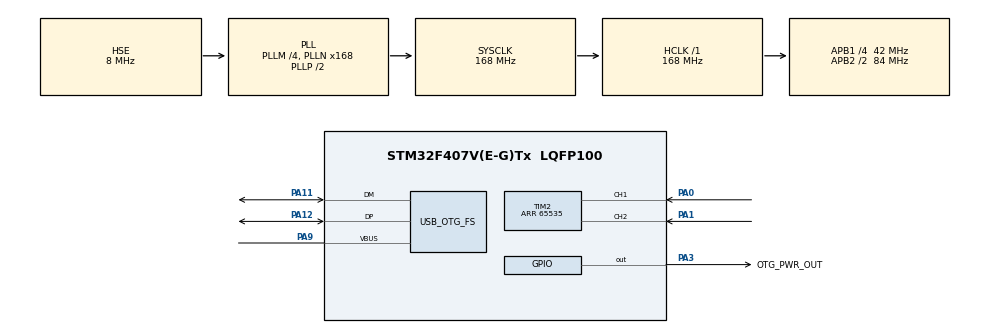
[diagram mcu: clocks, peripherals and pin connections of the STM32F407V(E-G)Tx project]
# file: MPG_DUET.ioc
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Mcu.Family=STM32F4
Mcu.Name=STM32F407V(E-G)Tx
Mcu.Package=LQFP100
NVIC.OTG_FS_IRQn=true\:0\:0\:false\:false\:true\:false\:true
NVIC.PriorityGroup=NVIC_PRIORITYGROUP_4
PA0-WKUP.GPIO_PuPd=GPIO_NOPULL
PA0-WKUP.Signal=S_TIM2_CH1_ETR
PA1.GPIO_PuPd=GPIO_NOPULL
PA1.Signal=S_TIM2_CH2
PA11.Mode=Host_Only
PA11.Signal=USB_OTG_FS_DM
PA12.GPIO_PuPd=GPIO_NOPULL
PA12.Mode=Host_Only
PA12.Signal=USB_OTG_FS_DP
PA13.Mode=Serial_Wire
PA13.Signal=SYS_JTMS-SWDIO
PA14.Mode=Serial_Wire
PA14.Signal=SYS_JTCK-SWCLK
PA3.GPIO_Label=OTG_PWR_OUT
PA3.PinState=GPIO_PIN_SET
PA3.Signal=GPIO_Output
PA9.Mode=Activate_VBUS
PA9.Signal=USB_OTG_FS_VBUS
PH0-OSC_IN.Mode=HSE-External-Oscillator
PH0-OSC_IN.Signal=RCC_OSC_IN
PH1-OSC_OUT.Mode=HSE-External-Oscillator
PH1-OSC_OUT.Signal=RCC_OSC_OUT
ProjectManager.HeapSize=0x200
ProjectManager.StackSize=0x400
ProjectManager.TargetToolchain=STM32CubeIDE
RCC.48MHZClocksFreq_Value=48000000
RCC.AHBFreq_Value=168000000
RCC.APB1CLKDivider=RCC_HCLK_DIV4
RCC.APB1Freq_Value=42000000
RCC.APB1TimFreq_Value=84000000
RCC.APB2CLKDivider=RCC_HCLK_DIV2
RCC.APB2Freq_Value=84000000
RCC.APB2TimFreq_Value=168000000
RCC.CortexFreq_Value=168000000
RCC.HCLKFreq_Value=168000000
RCC.HSE_VALUE=8000000
RCC.HSI_VALUE=16000000
RCC.LSE_VALUE=32768
RCC.PLLM=4
RCC.PLLN=168
RCC.PLLQ=7
RCC.SYSCLKFreq_VALUE=168000000
RCC.SYSCLKSource=RCC_SYSCLKSOURCE_PLLCLK
RCC.VCOOutputFreq_Value=336000000
SH.S_TIM2_CH1_ETR.0=TIM2_CH1,Encoder_Interface
SH.S_TIM2_CH2.0=TIM2_CH2,Encoder_Interface
TIM2.EncoderMode=TIM_ENCODERMODE_TI1
TIM2.IC1Filter=3
TIM2.IC2Filter=3
TIM2.Period=65535
USB_HOST.BSP.number=1
USB_HOST.USBH_DEBUG_LEVEL-CDC_FS=3
USB_HOST.USBH_HandleTypeDef-CDC_FS=hUsbHostFS
USB_HOST.VirtualModeFS=Cdc
USB_HOST0.BSP.STBoard=false
USB_HOST0.BSP.api=Unknown
USB_HOST0.BSP.i2caddr=0
USB_HOST0.BSP.instance=PA3
USB_HOST0.BSP.ip=GPIO
USB_HOST0.BSP.mode=Output
USB_HOST0.BSP.name=Drive_VBUS_FS
USB_HOST0.BSP.solution=PA3
USB_OTG_FS.VirtualMode=Host_Only
USB_OTG_FS.phy_itface=HCD_PHY_EMBEDDED
VP_USB_HOST_VS_USB_HOST_CDC_FS.Mode=CDC_FS
board=custom

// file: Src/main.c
/* USER CODE BEGIN Header */
/**
  ******************************************************************************
  * @file           : main.c
  * @brief          : Main program body
  ******************************************************************************
  * @attention
  *
  * <h2><center>&copy; Copyright (c) 2019 STMicroelectronics.
  * All rights reserved.</center></h2>
  *
  * This software component is licensed by ST under BSD 3-Clause license,
  * the "License"; You may not use this file except in compliance with the
  * License. You may obtain a copy of the License at:
  *                        opensource.org/licenses/BSD-3-Clause
  *
  ******************************************************************************
  */
/* USER CODE END Header */

#include "main.h"
#include "usb_host.h"

/* USER CODE BEGIN Includes */
#include "usbh_def.h"
#include "usbh_cdc.h"
#include "usbh_platform.h"
/* USER CODE END Includes */

TIM_HandleTypeDef htim2;

/* USER CODE BEGIN PV */
extern USBH_HandleTypeDef hUsbHostFS;
uint8_t test_buff[256]="test";

uint8_t receive_data[256]="";

int buff_length=63;
int transmit_done=0;
int32_t encoder_value=0;
/* USER CODE END PV */

void SystemClock_Config(void);
static void MX_GPIO_Init(void);
static void MX_TIM2_Init(void);
void MX_USB_HOST_Process(void);

/* USER CODE BEGIN PFP */
void USBH_CDC_ReceiveCallback(USBH_HandleTypeDef *phost);
void USBH_CDC_TransmitCallback(USBH_HandleTypeDef *phost);
/* USER CODE END PFP */

int main(void)
{

  /* MCU Configuration--------------------------------------------------------*/

  /* Reset of all peripherals, Initializes the Flash interface and the Systick. */
  HAL_Init();

  /* Configure the system clock */
  SystemClock_Config();

  /* Initialize all configured peripherals */
  MX_GPIO_Init();
  MX_USB_HOST_Init();
  MX_TIM2_Init();
  /* USER CODE BEGIN 2 */
  HAL_TIM_Encoder_Start(&htim2, TIM_CHANNEL_ALL);
  TIM2->CNT=32000;

  /* USER CODE END 2 */

  /* Infinite loop */
  /* USER CODE BEGIN WHILE */
  while (1)
  {
	  if ((hUsbHostFS.gState==HOST_CLASS)&(transmit_done==0))
	     {
	     	USBH_CDC_Transmit(&hUsbHostFS, test_buff, buff_length);
	     	transmit_done=1;
	     };
    /* USER CODE END WHILE */
    MX_USB_HOST_Process();

    /* USER CODE BEGIN 3 */
    encoder_value= ENCODER_VAL;
    //USBH_CDC_Receive(&hUsbHostFS, receive_data, buff_length);
    //USBH_CDC_Transmit(&hUsbHostFS, test_buff, buff_length);
  }
  /* USER CODE END 3 */
}

void SystemClock_Config(void)
{
  RCC_OscInitTypeDef RCC_OscInitStruct = {0};
  RCC_ClkInitTypeDef RCC_ClkInitStruct = {0};

  /** Configure the main internal regulator output voltage
  */
  __HAL_RCC_PWR_CLK_ENABLE();
  __HAL_PWR_VOLTAGESCALING_CONFIG(PWR_REGULATOR_VOLTAGE_SCALE1);
  /** Initializes the CPU, AHB and APB busses clocks
  */
  RCC_OscInitStruct.OscillatorType = RCC_OSCILLATORTYPE_HSE;
  RCC_OscInitStruct.HSEState = RCC_HSE_ON;
  RCC_OscInitStruct.PLL.PLLState = RCC_PLL_ON;
  RCC_OscInitStruct.PLL.PLLSource = RCC_PLLSOURCE_HSE;
  RCC_OscInitStruct.PLL.PLLM = 4;
  RCC_OscInitStruct.PLL.PLLN = 168;
  RCC_OscInitStruct.PLL.PLLP = RCC_PLLP_DIV2;
  RCC_OscInitStruct.PLL.PLLQ = 7;
  if (HAL_RCC_OscConfig(&RCC_OscInitStruct) != HAL_OK)
  {
    Error_Handler();
  }
  /** Initializes the CPU, AHB and APB busses clocks
  */
  RCC_ClkInitStruct.ClockType = RCC_CLOCKTYPE_HCLK|RCC_CLOCKTYPE_SYSCLK
                              |RCC_CLOCKTYPE_PCLK1|RCC_CLOCKTYPE_PCLK2;
  RCC_ClkInitStruct.SYSCLKSource = RCC_SYSCLKSOURCE_PLLCLK;
  RCC_ClkInitStruct.AHBCLKDivider = RCC_SYSCLK_DIV1;
  RCC_ClkInitStruct.APB1CLKDivider = RCC_HCLK_DIV4;
  RCC_ClkInitStruct.APB2CLKDivider = RCC_HCLK_DIV2;

  if (HAL_RCC_ClockConfig(&RCC_ClkInitStruct, FLASH_LATENCY_5) != HAL_OK)
  {
    Error_Handler();
  }
}

static void MX_TIM2_Init(void)
{

  TIM_Encoder_InitTypeDef sConfig = {0};
  TIM_MasterConfigTypeDef sMasterConfig = {0};

  htim2.Instance = TIM2;
  htim2.Init.Prescaler = 0;
  htim2.Init.CounterMode = TIM_COUNTERMODE_UP;
  htim2.Init.Period = 65535;
  htim2.Init.ClockDivision = TIM_CLOCKDIVISION_DIV1;
  htim2.Init.AutoReloadPreload = TIM_AUTORELOAD_PRELOAD_DISABLE;
  sConfig.EncoderMode = TIM_ENCODERMODE_TI1;
  sConfig.IC1Polarity = TIM_ICPOLARITY_RISING;
  sConfig.IC1Selection = TIM_ICSELECTION_DIRECTTI;
  sConfig.IC1Prescaler = TIM_ICPSC_DIV1;
  sConfig.IC1Filter = 3;
  sConfig.IC2Polarity = TIM_ICPOLARITY_RISING;
  sConfig.IC2Selection = TIM_ICSELECTION_DIRECTTI;
  sConfig.IC2Prescaler = TIM_ICPSC_DIV1;
  sConfig.IC2Filter = 3;
  if (HAL_TIM_Encoder_Init(&htim2, &sConfig) != HAL_OK)
  {
    Error_Handler();
  }
  sMasterConfig.MasterOutputTrigger = TIM_TRGO_RESET;
  sMasterConfig.MasterSlaveMode = TIM_MASTERSLAVEMODE_DISABLE;
  if (HAL_TIMEx_MasterConfigSynchronization(&htim2, &sMasterConfig) != HAL_OK)
  {
    Error_Handler();
  }

}

static void MX_GPIO_Init(void)
{
  GPIO_InitTypeDef GPIO_InitStruct = {0};

  /* GPIO Ports Clock Enable */
  __HAL_RCC_GPIOH_CLK_ENABLE();
  __HAL_RCC_GPIOA_CLK_ENABLE();

  /*Configure GPIO pin Output Level */
  HAL_GPIO_WritePin(OTG_PWR_OUT_GPIO_Port, OTG_PWR_OUT_Pin, GPIO_PIN_SET);

  /*Configure GPIO pin : OTG_PWR_OUT_Pin */
  GPIO_InitStruct.Pin = OTG_PWR_OUT_Pin;
  GPIO_InitStruct.Mode = GPIO_MODE_OUTPUT_PP;
  GPIO_InitStruct.Pull = GPIO_NOPULL;
  GPIO_InitStruct.Speed = GPIO_SPEED_FREQ_LOW;
  HAL_GPIO_Init(OTG_PWR_OUT_GPIO_Port, &GPIO_InitStruct);

}

/* USER CODE BEGIN 4 */
void USBH_CDC_ReceiveCallback(USBH_HandleTypeDef *phost)
{
	HAL_Delay(2000);
}

void USBH_CDC_TransmitCallback(USBH_HandleTypeDef *phost)
{
	transmit_done=0;
	USBH_CDC_Receive(phost, receive_data, buff_length);
}
/* USER CODE END 4 */

void Error_Handler(void)
{
}

/************************ (C) COPYRIGHT STMicroelectronics *****END OF FILE****/
